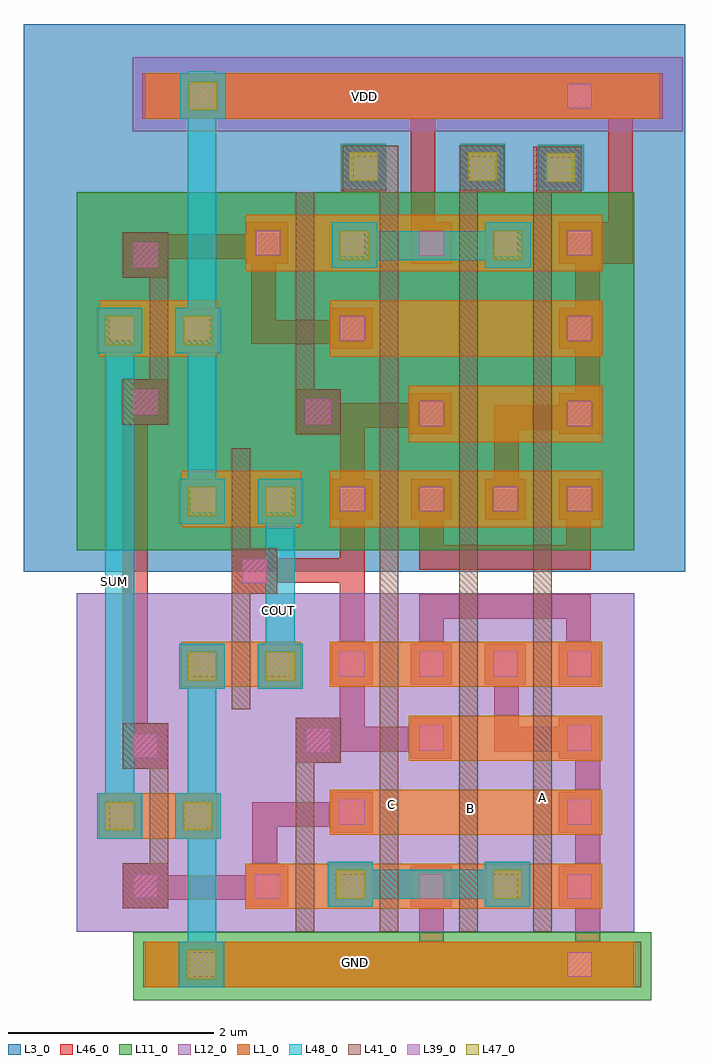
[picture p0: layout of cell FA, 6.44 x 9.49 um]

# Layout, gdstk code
import gdstk
lib = gdstk.Library(unit=1e-6, precision=1e-09)
def R(c, l, rs):  # rectangles x0, y0, x1, y1
    for r in rs: c.add(gdstk.rectangle(r[:2], r[2:], *l))
def A(c, l, x, y, w, h, nx, ny, dx, dy):  # array of equal rectangles
    R(c, l, [(x+i*dx, y+j*dy, x+i*dx+w, y+j*dy+h) for i in range(nx) for j in range(ny)])
L1_0 = (1, 0)
L3_0 = (3, 0)
L11_0 = (11, 0)
L12_0 = (12, 0)
L39_0 = (39, 0)
L41_0 = (41, 0)
L46_0 = (46, 0)
L47_0 = (47, 0)
L48_0 = (48, 0)

m1_m2_via_cdns_673388755 = lib.new_cell('M1_M2_via_CDNS_673388755000')
R(m1_m2_via_cdns_673388755, L46_0, [(-0.22,-0.22,0.22,0.22)])
R(m1_m2_via_cdns_673388755, L47_0, [(-0.14,-0.14,0.14,0.14)])
R(m1_m2_via_cdns_673388755, L48_0, [(-0.22,-0.22,0.22,0.22)])

c_fa = lib.new_cell('FA')
R(c_fa, L1_0, [(8.36,-8.39,13.11,-7.95), (9.33,-7.63,12.8,-7.19), (7.91,-6.945,9.07,-6.505), (10.15,-6.91,12.8,-6.47), (10.92,-6.19,12.8,-5.75), (8.71,-5.47,9.87,-5.03), (10.15,-5.47,12.8,-5.03), (8.71,-3.92,9.87,-3.37), (10.15,-3.92,12.8,-3.37), (10.92,-3.09,12.8,-2.54), (7.91,-2.26,9.07,-1.71), (10.15,-2.26,12.8,-1.71), (9.33,-1.43,12.8,-0.88), (8.36,0.055,11.795,0.495), (11.66,0.055,13.36,0.495)])
R(c_fa, L3_0, [(7.175,-4.35,13.61,0.975)])
R(c_fa, L11_0, [(8.24,-8.515,13.28,-7.855), (7.69,-4.14,13.115,-0.66)])
R(c_fa, L12_0, [(7.69,-7.85,13.115,-4.56), (8.235,-0.07,11.64,0.65), (11.58,-0.07,13.585,0.65)])
A(c_fa, L39_0, 11.02, -7.53, 0.24, 0.24, 3, 2, 0.72, 2.16)
A(c_fa, L39_0, 8.81, -5.37, 0.24, 0.24, 3, 2, 0.72, 1.605)
A(c_fa, L39_0, 11.02, -3.765, 0.24, 0.24, 3, 1, 0.72, 0)
A(c_fa, L39_0, 12.46, -2.935, 0.24, 0.24, 1, 3, 0, 0.83)
R(c_fa, L39_0, [(8.8,-8.29,9.04,-8.05), (12.46,-8.29,12.7,-8.05), (9.43,-7.53,9.67,-7.29), (10.25,-7.53,10.49,-7.29), (8.24,-7.525,8.48,-7.285), (8.01,-6.845,8.25,-6.605), (8.73,-6.845,8.97,-6.605), (10.25,-6.81,10.49,-6.57), (12.46,-6.81,12.7,-6.57), (8.24,-6.165,8.48,-5.925), (9.92,-6.11,10.16,-5.87), (11.02,-6.09,11.26,-5.85), (12.46,-6.09,12.7,-5.85), (9.3,-4.465,9.54,-4.225), (11.02,-2.935,11.26,-2.695), (9.92,-2.915,10.16,-2.675), (8.24,-2.82,8.48,-2.58), (8.01,-2.105,8.25,-1.865), (8.73,-2.105,8.97,-1.865), (10.25,-2.105,10.49,-1.865), (8.24,-1.39,8.48,-1.15), (11.02,-1.28,11.26,-1.04), (9.43,-1.275,9.67,-1.035), (10.25,-1.275,10.49,-1.035), (11.74,-1.275,11.98,-1.035), (12.26,-0.56,12.5,-0.32), (10.38,-0.55,10.62,-0.31), (11.51,-0.55,11.75,-0.31), (8.8,0.155,9.04,0.395), (12.46,0.155,12.7,0.395)])
R(c_fa, L41_0, [(8.14,-7.625,8.58,-7.185), (8.14,-6.265,8.58,-5.825), (9.82,-6.21,10.26,-5.77), (9.2,-4.565,9.64,-4.125), (9.82,-3.015,10.26,-2.575), (8.14,-2.92,8.58,-2.48), (8.14,-1.49,8.58,-1.05), (12.16,-0.66,12.6,-0.22), (10.28,-0.65,10.72,-0.21), (11.41,-0.65,11.85,-0.21)])
A(c_fa, L46_0, 10.94, -7.61, 0.4, 0.4, 3, 2, 0.72, 2.16)
A(c_fa, L46_0, 8.73, -5.45, 0.4, 0.4, 3, 2, 0.72, 1.605)
A(c_fa, L46_0, 10.94, -3.845, 0.4, 0.4, 3, 1, 0.72, 0)
R(c_fa, L46_0, [(8.34,-8.39,13.18,-7.95), (8.14,-7.625,8.58,-7.185), (9.33,-7.61,9.75,-7.21), (10.17,-7.61,10.57,-7.21), (7.93,-6.905,8.33,-6.505), (8.65,-6.905,9.05,-6.505), (10.17,-6.89,10.57,-6.49), (12.38,-6.89,12.78,-6.49), (8.14,-6.265,8.58,-5.825), (9.82,-6.21,10.26,-5.77), (10.94,-6.17,11.34,-5.77), (12.38,-6.17,12.78,-5.77), (9.2,-4.565,9.64,-4.125), (9.82,-3.015,10.26,-2.575), (10.94,-3.015,11.34,-2.615), (12.38,-3.015,12.78,-2.615), (8.14,-2.92,8.58,-2.48), (7.93,-2.185,8.33,-1.785), (8.65,-2.185,9.05,-1.785), (10.17,-2.185,10.57,-1.785), (12.38,-2.185,12.78,-1.785), (8.14,-1.49,8.58,-1.05), (9.33,-1.355,9.75,-0.955), (10.17,-1.355,10.57,-0.955), (10.94,-1.355,11.34,-0.955), (11.66,-1.355,12.06,-0.955), (12.38,-1.355,13.1,-0.955), (12.16,-0.66,12.6,-0.22), (10.26,-0.65,10.7,-0.21), (11.42,-0.65,11.86,-0.21), (8.33,0.055,13.39,0.495)])
c_fa.add(gdstk.FlexPath([(8.26,-6.05),(8.35,-6.05)], 0.24, ends=(0.12, 0), simple_path=True, layer=46, datatype=0))  # L46_0
c_fa.add(gdstk.FlexPath([(8.26,-2.69),(8.26,-6.05)], 0.24, ends="extended", simple_path=True, layer=46, datatype=0))  # L46_0
c_fa.add(gdstk.FlexPath([(8.36,-2.69),(8.26,-2.69)], 0.24, ends=(0, 0.12), simple_path=True, layer=46, datatype=0))  # L46_0
c_fa.add(gdstk.FlexPath([(9.52,-6.71),(9.52,-7.42)], 0.24, ends=(0.12, 0), simple_path=True, layer=46, datatype=0))  # L46_0
c_fa.add(gdstk.FlexPath([(10.36,-6.71),(9.52,-6.71)], 0.24, ends=(0, 0.12), simple_path=True, layer=46, datatype=0))  # L46_0
c_fa.add(gdstk.FlexPath([(9.51,-1.19),(8.35,-1.19)], 0.24, ends=(0.12, 0), simple_path=True, layer=46, datatype=0))  # L46_0
c_fa.add(gdstk.FlexPath([(9.51,-2.02),(9.51,-1.19)], 0.24, ends="extended", simple_path=True, layer=46, datatype=0))  # L46_0
c_fa.add(gdstk.FlexPath([(10.37,-2.02),(9.51,-2.02)], 0.24, ends=(0, 0.12), simple_path=True, layer=46, datatype=0))  # L46_0
c_fa.add(gdstk.FlexPath([(10.37,-4.34),(10.37,-5.98)], 0.24, ends="extended", simple_path=True, layer=46, datatype=0))  # L46_0
c_fa.add(gdstk.FlexPath([(10.37,-4.34),(10.38,-4.34)], 0.24, ends=(0.12, 0), simple_path=True, layer=46, datatype=0))  # L46_0
c_fa.add(gdstk.FlexPath([(9.43,-4.34),(10.37,-4.34)], 0.24, ends=(0, 0.12), simple_path=True, layer=46, datatype=0))  # L46_0
c_fa.add(gdstk.FlexPath([(10.37,-2.83),(10.37,-4.34)], 0.24, ends="extended", simple_path=True, layer=46, datatype=0))  # L46_0
c_fa.add(gdstk.FlexPath([(10.37,-5.98),(10.01,-5.98)], 0.24, ends=(0.12, 0), simple_path=True, layer=46, datatype=0))  # L46_0
c_fa.add(gdstk.FlexPath([(11.15,-5.98),(10.37,-5.98)], 0.24, ends=(0, 0.12), simple_path=True, layer=46, datatype=0))  # L46_0
c_fa.add(gdstk.FlexPath([(10.37,-2.83),(10.03,-2.83)], 0.24, ends=(0.12, 0), simple_path=True, layer=46, datatype=0))  # L46_0
c_fa.add(gdstk.FlexPath([(9.55,-7.42),(8.36,-7.42)], 0.24, ends="flush", simple_path=True, layer=46, datatype=0))  # L46_0
c_fa.add(gdstk.FlexPath([(11.14,-2.83),(10.37,-2.83)], 0.24, ends=(0, 0.12), simple_path=True, layer=46, datatype=0))  # L46_0
c_fa.add(gdstk.FlexPath([(11.14,-7.42),(11.14,-8.35)], 0.24, ends="flush", simple_path=True, layer=46, datatype=0))  # L46_0
c_fa.add(gdstk.FlexPath([(11.87,-5.98),(12.66,-5.98)], 0.24, ends=(0.12, 0), simple_path=True, layer=46, datatype=0))  # L46_0
c_fa.add(gdstk.FlexPath([(11.87,-2.85),(11.87,-3.67)], 0.24, ends=(0.12, 0), simple_path=True, layer=46, datatype=0))  # L46_0
c_fa.add(gdstk.FlexPath([(12.98,-1.15),(12.98,0.08)], 0.24, ends=(0.12, 0.4), simple_path=True, layer=46, datatype=0))  # L46_0
c_fa.add(gdstk.FlexPath([(12.66,-1.15),(12.98,-1.15)], 0.24, ends="extended", simple_path=True, layer=46, datatype=0))  # L46_0
c_fa.add(gdstk.FlexPath([(12.66,-2.82),(12.66,-1.15)], 0.24, ends=(0, 0.12), simple_path=True, layer=46, datatype=0))  # L46_0
c_fa.add(gdstk.FlexPath([(11.87,-5.28),(11.87,-5.98)], 0.24, ends=(0, 0.12), simple_path=True, layer=46, datatype=0))  # L46_0
c_fa.add(gdstk.FlexPath([(11.14,-4.69),(11.14,-5.26)], 0.24, ends=(0.12, 0), simple_path=True, layer=46, datatype=0))  # L46_0
c_fa.add(gdstk.FlexPath([(12.57,-5.24),(12.57,-4.69)], 0.24, ends=(0, 0.12), simple_path=True, layer=46, datatype=0))  # L46_0
c_fa.add(gdstk.FlexPath([(12.57,-4.69),(11.14,-4.69)], 0.24, ends="extended", simple_path=True, layer=46, datatype=0))  # L46_0
c_fa.add(gdstk.FlexPath([(11.14,-4.21),(11.14,-3.64)], 0.24, ends=(0.12, 0), simple_path=True, layer=46, datatype=0))  # L46_0
c_fa.add(gdstk.FlexPath([(12.57,-4.21),(11.14,-4.21)], 0.24, ends="extended", simple_path=True, layer=46, datatype=0))  # L46_0
c_fa.add(gdstk.FlexPath([(12.57,-3.66),(12.57,-4.21)], 0.24, ends=(0, 0.12), simple_path=True, layer=46, datatype=0))  # L46_0
c_fa.add(gdstk.FlexPath([(11.06,-1.19),(11.06,0.09)], 0.24, ends=(0, 0.4), simple_path=True, layer=46, datatype=0))  # L46_0
c_fa.add(gdstk.FlexPath([(12.66,-5.99),(12.66,-8.325)], 0.24, ends="flush", simple_path=True, layer=46, datatype=0))  # L46_0
c_fa.add(gdstk.FlexPath([(12.57,-2.85),(11.87,-2.85)], 0.24, ends=(0, 0.12), simple_path=True, layer=46, datatype=0))  # L46_0
c_fa.add(gdstk.FlexPath([(8.49,-6.23),(8.49,-7.21)], 0.18, ends="flush", simple_path=True, layer=41, datatype=0))  # L41_0
c_fa.add(gdstk.FlexPath([(9.29,-3.15),(9.29,-5.69)], 0.18, ends="flush", simple_path=True, layer=41, datatype=0))  # L41_0
c_fa.add(gdstk.FlexPath([(8.49,-1.49),(8.49,-2.48)], 0.18, ends="flush", simple_path=True, layer=41, datatype=0))  # L41_0
c_fa.add(gdstk.FlexPath([(10.73,-0.21),(10.73,-7.85)], 0.18, ends="flush", simple_path=True, layer=41, datatype=0))  # L41_0
c_fa.add(gdstk.FlexPath([(9.91,-5.77),(9.91,-7.85)], 0.18, ends="flush", simple_path=True, layer=41, datatype=0))  # L41_0
c_fa.add(gdstk.FlexPath([(9.91,-0.66),(9.91,-3.015)], 0.18, ends="flush", simple_path=True, layer=41, datatype=0))  # L41_0
c_fa.add(gdstk.FlexPath([(12.22,-0.22),(12.22,-7.85)], 0.18, ends="flush", simple_path=True, layer=41, datatype=0))  # L41_0
c_fa.add(gdstk.FlexPath([(11.5,-0.64),(11.5,-7.85)], 0.18, ends="flush", simple_path=True, layer=41, datatype=0))  # L41_0
c_fa.add(gdstk.FlexPath([(8.11,-6.725),(8.11,-6.73)], 0.28, ends="flush", simple_path=True, layer=48, datatype=0))  # L48_0
c_fa.add(gdstk.FlexPath([(8.11,-2.01),(8.11,-6.725)], 0.28, ends="flush", simple_path=True, layer=48, datatype=0))  # L48_0
c_fa.add(gdstk.FlexPath([(8.91,-5.27),(8.91,-8.175)], 0.28, ends="flush", simple_path=True, layer=48, datatype=0))  # L48_0
c_fa.add(gdstk.FlexPath([(9.67,-5.27),(9.67,-5.28)], 0.28, ends="flush", simple_path=True, layer=48, datatype=0))  # L48_0
c_fa.add(gdstk.FlexPath([(9.67,-3.67),(9.67,-5.27)], 0.28, ends="flush", simple_path=True, layer=48, datatype=0))  # L48_0
c_fa.add(gdstk.FlexPath([(8.91,-3.67),(8.91,0.515)], 0.28, ends="flush", simple_path=True, layer=48, datatype=0))  # L48_0
c_fa.add(gdstk.FlexPath([(11.88,-7.39),(11.89,-7.39)], 0.28, ends="flush", simple_path=True, layer=48, datatype=0))  # L48_0
c_fa.add(gdstk.FlexPath([(10.35,-7.39),(11.88,-7.39)], 0.28, ends="flush", simple_path=True, layer=48, datatype=0))  # L48_0
c_fa.add(gdstk.FlexPath([(10.39,-1.18),(11.89,-1.18)], 0.28, ends="flush", simple_path=True, layer=48, datatype=0))  # L48_0
c_fa.add(gdstk.Reference(m1_m2_via_cdns_673388755, (8.92,0.275)))
c_fa.add(gdstk.Reference(m1_m2_via_cdns_673388755, (8.905,-8.17)))
c_fa.add(gdstk.Reference(m1_m2_via_cdns_673388755, (8.11,-6.725)))
c_fa.add(gdstk.Reference(m1_m2_via_cdns_673388755, (8.87,-6.725)))
c_fa.add(gdstk.Reference(m1_m2_via_cdns_673388755, (8.11,-2.005)))
c_fa.add(gdstk.Reference(m1_m2_via_cdns_673388755, (8.87,-2.005)))
c_fa.add(gdstk.Reference(m1_m2_via_cdns_673388755, (8.91,-3.665)))
c_fa.add(gdstk.Reference(m1_m2_via_cdns_673388755, (9.67,-3.665)))
c_fa.add(gdstk.Reference(m1_m2_via_cdns_673388755, (8.91,-5.27)))
c_fa.add(gdstk.Reference(m1_m2_via_cdns_673388755, (9.67,-5.27)))
c_fa.add(gdstk.Reference(m1_m2_via_cdns_673388755, (11.88,-7.39)))
c_fa.add(gdstk.Reference(m1_m2_via_cdns_673388755, (10.35,-7.39)))
c_fa.add(gdstk.Reference(m1_m2_via_cdns_673388755, (12.4,-0.42)))
c_fa.add(gdstk.Reference(m1_m2_via_cdns_673388755, (11.64,-0.41)))
c_fa.add(gdstk.Reference(m1_m2_via_cdns_673388755, (10.48,-0.41)))
c_fa.add(gdstk.Reference(m1_m2_via_cdns_673388755, (10.39,-1.175)))
c_fa.add(gdstk.Reference(m1_m2_via_cdns_673388755, (11.885,-1.175)))
c_fa.add(gdstk.Label('COUT', (9.65,-4.73), layer=102, texttype=0))
c_fa.add(gdstk.Label('SUM', (8.06,-4.45), layer=102, texttype=0))
c_fa.add(gdstk.Label('GND', (10.4,-8.155), layer=101, texttype=0))
c_fa.add(gdstk.Label('VDD', (10.49,0.27), layer=101, texttype=0))
c_fa.add(gdstk.Label('C', (10.75,-6.61), layer=100, texttype=0))
c_fa.add(gdstk.Label('B', (11.52,-6.65), layer=100, texttype=0))
c_fa.add(gdstk.Label('A', (12.22,-6.55), layer=100, texttype=0))

lib.write_gds('FA.gds')
